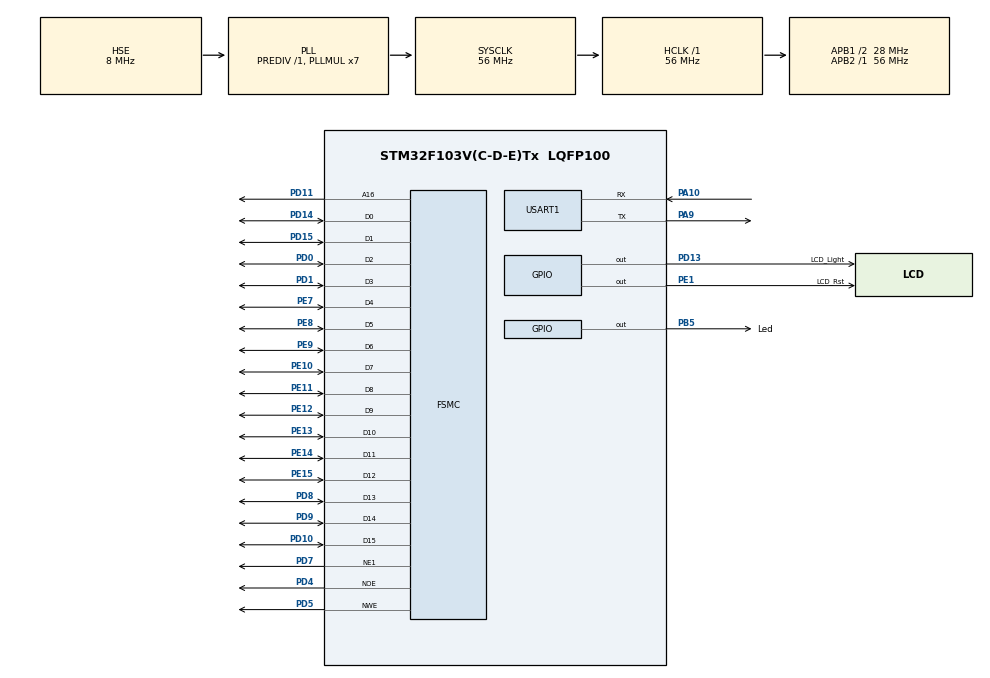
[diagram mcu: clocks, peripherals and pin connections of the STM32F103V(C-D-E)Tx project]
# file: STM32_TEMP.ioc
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ADC1.Channel-0\#ChannelRegularConversion=ADC_CHANNEL_TEMPSENSOR
ADC1.NbrOfConversionFlag=1
ADC1.Rank-0\#ChannelRegularConversion=1
ADC1.SamplingTime-0\#ChannelRegularConversion=ADC_SAMPLETIME_239CYCLES_5
ADC1.master=1
FSMC.AddressSetupTime1=0x2
FSMC.BusTurnAroundDuration1=0x0
FSMC.DataSetupTime1=0x5
Mcu.Family=STM32F1
Mcu.Name=STM32F103V(C-D-E)Tx
Mcu.Package=LQFP100
NVIC.PriorityGroup=NVIC_PRIORITYGROUP_4
NVIC.TIM1_UP_IRQn=true\:0\:0\:false\:false\:true\:false
NVIC.TimeBase=TIM1_UP_IRQn
NVIC.TimeBaseIP=TIM1
OSC_IN.Mode=HSE-External-Oscillator
OSC_IN.Signal=RCC_OSC_IN
OSC_OUT.Mode=HSE-External-Oscillator
OSC_OUT.Signal=RCC_OSC_OUT
PA10.Mode=Asynchronous
PA10.Signal=USART1_RX
PA9.Mode=Asynchronous
PA9.Signal=USART1_TX
PB5.GPIO_Label=Led
PB5.Signal=GPIO_Output
PC14-OSC32_IN.Mode=LSE-External-Oscillator
PC14-OSC32_IN.Signal=RCC_OSC32_IN
PC15-OSC32_OUT.Mode=LSE-External-Oscillator
PC15-OSC32_OUT.Signal=RCC_OSC32_OUT
PD0.Mode=16b-d1
PD0.Signal=FSMC_D2
PD1.Mode=16b-d1
PD1.Signal=FSMC_D3
PD10.Mode=16b-d1
PD10.Signal=FSMC_D15
PD11.Mode=A16_1
PD11.Signal=FSMC_A16
PD13.GPIO_Label=LCD_Light
PD13.GPIO_Speed=GPIO_SPEED_FREQ_HIGH
PD13.Signal=GPIO_Output
PD14.Mode=16b-d1
PD14.Signal=FSMC_D0
PD15.Mode=16b-d1
PD15.Signal=FSMC_D1
PD4.Mode=Lcd1
PD4.Signal=FSMC_NOE
PD5.Mode=Lcd1
PD5.Signal=FSMC_NWE
PD7.Mode=NorPsramChipSelect1_1
PD7.Signal=FSMC_NE1
PD8.Mode=16b-d1
PD8.Signal=FSMC_D13
PD9.Mode=16b-d1
PD9.Signal=FSMC_D14
PE1.GPIO_Label=LCD_Rst
PE1.Signal=GPIO_Output
PE10.Mode=16b-d1
PE10.Signal=FSMC_D7
PE11.Mode=16b-d1
PE11.Signal=FSMC_D8
PE12.Mode=16b-d1
PE12.Signal=FSMC_D9
PE13.Mode=16b-d1
PE13.Signal=FSMC_D10
PE14.Mode=16b-d1
PE14.Signal=FSMC_D11
PE15.Mode=16b-d1
PE15.Signal=FSMC_D12
PE7.Mode=16b-d1
PE7.Signal=FSMC_D4
PE8.Mode=16b-d1
PE8.Signal=FSMC_D5
PE9.Mode=16b-d1
PE9.Signal=FSMC_D6
ProjectManager.HeapSize=0x200
ProjectManager.StackSize=0x400
ProjectManager.TargetToolchain=Makefile
RCC.ADCPresc=RCC_ADCPCLK2_DIV4
RCC.AHBFreq_Value=56000000
RCC.APB1CLKDivider=RCC_HCLK_DIV2
RCC.APB1Freq_Value=28000000
RCC.APB1TimFreq_Value=56000000
RCC.APB2Freq_Value=56000000
RCC.APB2TimFreq_Value=56000000
RCC.HCLKFreq_Value=56000000
RCC.PLLMUL=RCC_PLL_MUL7
RCC.PLLSourceVirtual=RCC_PLLSOURCE_HSE
RCC.SYSCLKFreq_VALUE=56000000
RCC.SYSCLKSource=RCC_SYSCLKSOURCE_PLLCLK
RCC.USBFreq_Value=56000000
USART1.VirtualMode=VM_ASYNC
VP_ADC1_TempSens_Input.Mode=IN-TempSens
VP_SYS_VS_ND.Mode=No_Debug
VP_SYS_VS_tim1.Mode=TIM1
board=custom

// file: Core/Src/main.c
/* USER CODE BEGIN Header */
/**
  ******************************************************************************
  * @file           : main.c
  * @brief          : Main program body
  ******************************************************************************
  ** This notice applies to any and all portions of this file
  * that are not between comment pairs USER CODE BEGIN and
  * USER CODE END. Other portions of this file, whether
  * inserted by the user or by software development tools
  * are owned by their respective copyright owners.
  *
  * COPYRIGHT(c) 2019 STMicroelectronics
  *
  * Redistribution and use in source and binary forms, with or without modification,
  * are permitted provided that the following conditions are met:
  *   1. Redistributions of source code must retain the above copyright notice,
  *      this list of conditions and the following disclaimer.
  *   2. Redistributions in binary form must reproduce the above copyright notice,
  *      this list of conditions and the following disclaimer in the documentation
  *      and/or other materials provided with the distribution.
  *   3. Neither the name of STMicroelectronics nor the names of its contributors
  *      may be used to endorse or promote products derived from this software
  *      without specific prior written permission.
  *
  * THIS SOFTWARE IS PROVIDED BY THE COPYRIGHT HOLDERS AND CONTRIBUTORS "AS IS"
  * AND ANY EXPRESS OR IMPLIED WARRANTIES, INCLUDING, BUT NOT LIMITED TO, THE
  * IMPLIED WARRANTIES OF MERCHANTABILITY AND FITNESS FOR A PARTICULAR PURPOSE ARE
  * DISCLAIMED. IN NO EVENT SHALL THE COPYRIGHT HOLDER OR CONTRIBUTORS BE LIABLE
  * FOR ANY DIRECT, INDIRECT, INCIDENTAL, SPECIAL, EXEMPLARY, OR CONSEQUENTIAL
  * DAMAGES (INCLUDING, BUT NOT LIMITED TO, PROCUREMENT OF SUBSTITUTE GOODS OR
  * SERVICES; LOSS OF USE, DATA, OR PROFITS; OR BUSINESS INTERRUPTION) HOWEVER
  * CAUSED AND ON ANY THEORY OF LIABILITY, WHETHER IN CONTRACT, STRICT LIABILITY,
  * OR TORT (INCLUDING NEGLIGENCE OR OTHERWISE) ARISING IN ANY WAY OUT OF THE USE
  * OF THIS SOFTWARE, EVEN IF ADVISED OF THE POSSIBILITY OF SUCH DAMAGE.
  *
  ******************************************************************************
  */
/* USER CODE END Header */

#include "main.h"
#include "adc.h"
#include "usart.h"
#include "gpio.h"
#include "fsmc.h"

/* USER CODE BEGIN Includes */
#include <string.h>
#include "lcd.h"
/* USER CODE END Includes */

/* USER CODE BEGIN PV */
static uint8_t buf[40] = {0};
static uint32_t adcVal = 0;
static int32_t tempVal = 0;
/* USER CODE END PV */

void SystemClock_Config(void);

int main(void)
{

  /* MCU Configuration--------------------------------------------------------*/

  /* Reset of all peripherals, Initializes the Flash interface and the Systick. */
  HAL_Init();

  /* Configure the system clock */
  SystemClock_Config();

  /* Initialize all configured peripherals */
  MX_GPIO_Init();
  MX_ADC1_Init();
  MX_FSMC_Init();
  MX_USART1_UART_Init();
  /* USER CODE BEGIN 2 */
  LCD_Init();
  memset((char *)buf, 0 , 40);
  snprintf((char *)buf, 40 , "Start Temp sensor");
  tftprintf(buf);

  HAL_ADCEx_Calibration_Start(&hadc1);
  /* USER CODE END 2 */

  /* Infinite loop */
  while (1)
  {

    /* USER CODE BEGIN 3 */
    HAL_Delay(1000);
    HAL_ADC_Start(&hadc1);
    adcVal = HAL_ADC_GetValue(&hadc1);
    tempVal = COMPUTATION_TEMPERATURE_STD_PARAMS(adcVal);

    memset((char *)buf, 0 , 40);
    snprintf((char *)buf, 40 , "ADC %lu temp %ldC", adcVal, tempVal);
    tftprintf(buf);
  }
  /* USER CODE END 3 */
}

void SystemClock_Config(void)
{
  RCC_OscInitTypeDef RCC_OscInitStruct = {0};
  RCC_ClkInitTypeDef RCC_ClkInitStruct = {0};
  RCC_PeriphCLKInitTypeDef PeriphClkInit = {0};

  /**Initializes the CPU, AHB and APB busses clocks
  */
  RCC_OscInitStruct.OscillatorType = RCC_OSCILLATORTYPE_HSE;
  RCC_OscInitStruct.HSEState = RCC_HSE_ON;
  RCC_OscInitStruct.HSEPredivValue = RCC_HSE_PREDIV_DIV1;
  RCC_OscInitStruct.HSIState = RCC_HSI_ON;
  RCC_OscInitStruct.PLL.PLLState = RCC_PLL_ON;
  RCC_OscInitStruct.PLL.PLLSource = RCC_PLLSOURCE_HSE;
  RCC_OscInitStruct.PLL.PLLMUL = RCC_PLL_MUL7;
  if (HAL_RCC_OscConfig(&RCC_OscInitStruct) != HAL_OK)
  {
    Error_Handler();
  }
  /**Initializes the CPU, AHB and APB busses clocks
  */
  RCC_ClkInitStruct.ClockType = RCC_CLOCKTYPE_HCLK|RCC_CLOCKTYPE_SYSCLK
                              |RCC_CLOCKTYPE_PCLK1|RCC_CLOCKTYPE_PCLK2;
  RCC_ClkInitStruct.SYSCLKSource = RCC_SYSCLKSOURCE_PLLCLK;
  RCC_ClkInitStruct.AHBCLKDivider = RCC_SYSCLK_DIV1;
  RCC_ClkInitStruct.APB1CLKDivider = RCC_HCLK_DIV2;
  RCC_ClkInitStruct.APB2CLKDivider = RCC_HCLK_DIV1;

  if (HAL_RCC_ClockConfig(&RCC_ClkInitStruct, FLASH_LATENCY_2) != HAL_OK)
  {
    Error_Handler();
  }
  PeriphClkInit.PeriphClockSelection = RCC_PERIPHCLK_ADC;
  PeriphClkInit.AdcClockSelection = RCC_ADCPCLK2_DIV4;
  if (HAL_RCCEx_PeriphCLKConfig(&PeriphClkInit) != HAL_OK)
  {
    Error_Handler();
  }
}

void HAL_TIM_PeriodElapsedCallback(TIM_HandleTypeDef *htim)
{
  if (htim->Instance == TIM1) {
    HAL_IncTick();
  }
}

void Error_Handler(void)
{
}

/************************ (C) COPYRIGHT STMicroelectronics *****END OF FILE****/
